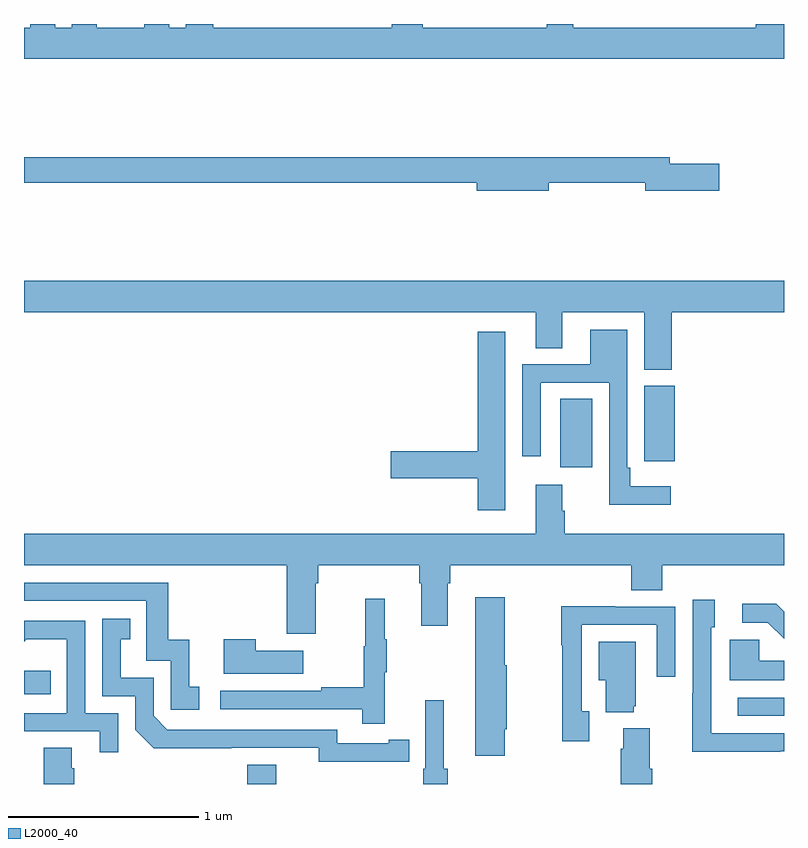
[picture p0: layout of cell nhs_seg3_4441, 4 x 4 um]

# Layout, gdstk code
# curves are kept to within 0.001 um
import gdstk
lib = gdstk.Library(unit=1e-6, precision=1e-09)
def R(c, l, rs):  # rectangles x0, y0, x1, y1
    for r in rs: c.add(gdstk.rectangle(r[:2], r[2:], *l))
def P(c, l, *ps):  # polygons
    for p in ps: c.add(gdstk.Polygon(p, *l))
L2000_40 = (2000, 40)

nhs_seg3_4441 = lib.new_cell('nhs_seg3_4441')
R(nhs_seg3_4441, L2000_40, [(348.176,730.4,348.328,730.501), (350.757,730.758,351,730.854), (349.823,732.066,349.99,732.428)])
P(nhs_seg3_4441, L2000_40, [(351,734.4),(350.852,734.4),(350.852,734.38),(349.891,734.38),(349.891,734.4),(349.752,734.4),(349.752,734.38),(349.099,734.38),(349.099,734.4),(348.935,734.4),(348.935,734.38),(347.996,734.38),(347.996,734.4),(347.852,734.4),(347.852,734.38),(347.764,734.38),(347.764,734.4),(347.633,734.4),(347.633,734.38),(347.383,734.38),(347.383,734.4),(347.252,734.4),(347.252,734.38),(347.164,734.38),(347.164,734.4),(347.033,734.4),(347.033,734.38),(347,734.38),(347,734.216),(351,734.216)],
  [(349.762,733.564),(350.27,733.564),(350.27,733.522),(350.659,733.522),(350.659,733.664),(350.398,733.664),(350.398,733.7),(347,733.7),(347,733.564),(349.382,733.564),(349.382,733.522),(349.762,733.522)],
  [(350.408,732.884),(351,732.884),(351,733.048),(347,733.048),(347,732.884),(349.694,732.884),(349.694,732.694),(349.834,732.694),(349.834,732.884),(350.264,732.884),(350.264,732.58),(350.408,732.58)],
  [(350.404,731.968),(350.191,731.968),(350.191,732.064),(350.175,732.064),(350.175,732.79),(349.979,732.79),(349.979,732.609),(349.623,732.609),(349.623,732.126),(349.719,732.126),(349.719,732.513),(350.079,732.513),(350.079,731.87),(350.404,731.87)],
  [(349.534,732.781),(349.388,732.781),(349.388,732.152),(348.93,732.152),(348.93,732.01),(349.388,732.01),(349.388,731.841),(349.534,731.841)],
  [(350.426,732.495),(350.264,732.495),(350.264,732.211),(350.265,732.211),(350.265,732.099),(350.426,732.099)],
  [(348.535,731.456),(348.548,731.456),(348.548,731.552),(349.079,731.552),(349.079,731.456),(349.091,731.456),(349.091,731.232),(349.231,731.232),(349.231,731.456),(349.244,731.456),(349.244,731.552),(350.195,731.552),(350.195,731.419),(350.36,731.419),(350.36,731.552),(351,731.552),(351,731.716),(349.847,731.716),(349.847,731.837),(349.834,731.837),(349.834,731.974),(349.694,731.974),(349.694,731.716),(347,731.716),(347,731.552),(348.383,731.552),(348.383,731.19),(348.535,731.19)],
  [(347.923,730.911),(347.87,730.911),(347.87,731.158),(347.759,731.158),(347.759,731.46),(347,731.46),(347,731.364),(347.643,731.364),(347.643,731.049),(347.772,731.049),(347.772,730.791),(347.923,730.791)],
  [(349.53,730.689),(349.54,730.689),(349.54,731.025),(349.53,731.025),(349.53,731.383),(349.376,731.383),(349.376,730.548),(349.53,730.548)],
  [(348.899,730.987),(348.91,730.987),(348.91,731.161),(348.899,731.161),(348.899,731.374),(348.796,731.374),(348.796,731.124),(348.789,731.124),(348.789,730.91),(348.565,730.91),(348.565,730.89),(348.033,730.89),(348.033,730.794),(348.781,730.794),(348.781,730.716),(348.899,730.716)],
  [(350.981,730.572),(351,730.572),(351,730.668),(350.617,730.668),(350.617,730.922),(350.616,730.922),(350.616,731.226),(350.635,731.226),(350.635,731.371),(350.52,731.371),(350.52,730.877),(350.518,730.877),(350.518,730.571),(350.981,730.571)],
  [(351,731.307),(350.959,731.348),(350.781,731.348),(350.781,731.25),(350.915,731.25),(351,731.165)],
  [(349.975,730.782),(349.935,730.782),(349.935,731.238),(350.331,731.238),(350.331,730.965),(350.427,730.965),(350.427,731.334),(350.111,731.334),(350.111,731.336),(349.827,731.336),(349.827,731.131),(349.834,731.131),(349.834,730.626),(349.975,730.626)],
  [(348.92,730.518),(349.028,730.518),(349.028,730.634),(348.92,730.634),(348.92,730.614),(348.648,730.614),(348.648,730.686),(347.754,730.686),(347.682,730.758),(347.682,730.959),(347.509,730.959),(347.509,731.163),(347.558,731.163),(347.558,731.269),(347.412,731.269),(347.412,730.863),(347.586,730.863),(347.586,730.686),(347.684,730.589),(348.552,730.59),(348.552,730.517)],
  [(347.496,730.773),(347.322,730.773),(347.322,731.259),(347,731.259),(347,731.15),(347.012,731.162),(347.226,731.162),(347.226,730.773),(347,730.773),(347,730.677),(347.399,730.677),(347.399,730.566),(347.496,730.566)],
  [(348.469,731.101),(348.221,731.101),(348.221,731.161),(348.05,731.161),(348.05,730.979),(348.469,730.979)],
  [(351,731.05),(350.871,731.05),(350.871,731.158),(350.714,731.158),(350.714,730.946),(351,730.946)],
  [(350.21,730.809),(350.221,730.809),(350.221,731.149),(350.024,731.149),(350.024,730.946),(350.063,730.946),(350.063,730.778),(350.21,730.778)],
  [(347.141,730.995),(347.001,730.995),(347.001,730.968),(347,730.968),(347,730.872),(347.141,730.872)],
  [(349.229,730.48),(349.21,730.48),(349.21,730.84),(349.113,730.84),(349.113,730.48),(349.1,730.48),(349.1,730.4),(349.229,730.4)],
  [(350.306,730.48),(350.293,730.48),(350.293,730.693),(350.153,730.693),(350.153,730.586),(350.141,730.586),(350.141,730.4),(350.306,730.4)],
  [(347.264,730.482),(347.251,730.482),(347.251,730.592),(347.104,730.592),(347.104,730.4),(347.264,730.4)])

lib.write_gds('nhs_seg3_4441.gds')
